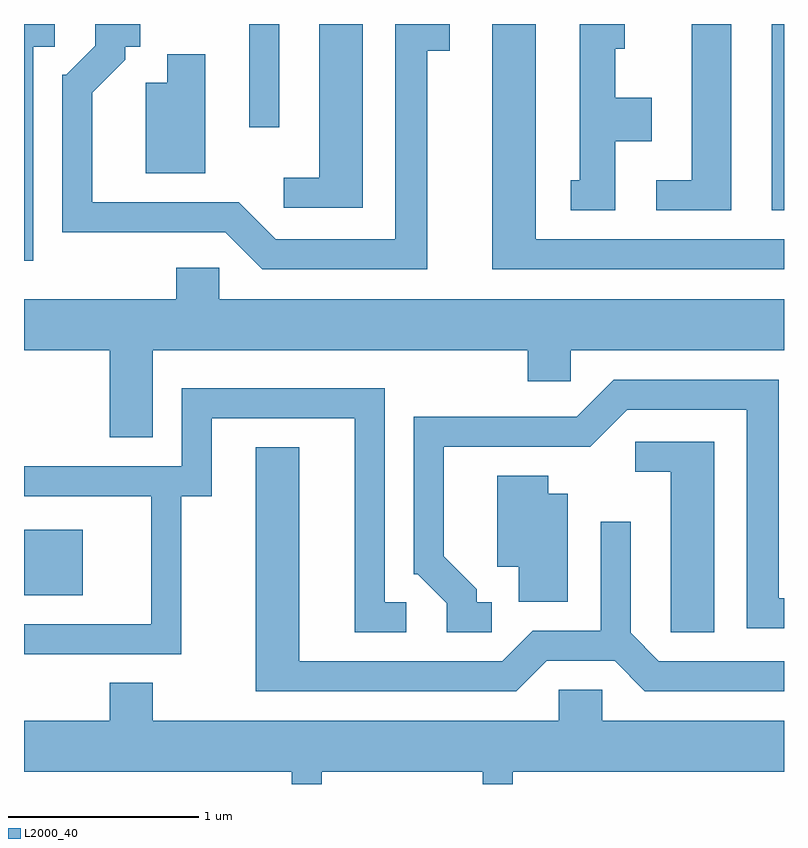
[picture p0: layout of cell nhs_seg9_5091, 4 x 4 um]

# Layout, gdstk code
import gdstk
lib = gdstk.Library(unit=1e-6, precision=1e-09)
def R(c, l, rs):  # rectangles x0, y0, x1, y1
    for r in rs: c.add(gdstk.rectangle(r[:2], r[2:], *l))
def P(c, l, *ps):  # polygons
    for p in ps: c.add(gdstk.Polygon(p, *l))
L2000_40 = (2000, 40)

nhs_seg9_5091 = lib.new_cell('nhs_seg9_5091')
R(nhs_seg9_5091, L2000_40, [(335.611,1979.426,335.919,1979.769), (339.546,1981.451,339.611,1982.432), (336.796,1981.888,336.954,1982.432)])
P(nhs_seg9_5091, L2000_40, [(339.611,1981.299),(338.304,1981.299),(338.304,1982.432),(338.076,1982.432),(338.076,1981.141),(339.611,1981.141)],
  [(337.734,1982.291),(337.853,1982.291),(337.853,1982.432),(337.566,1982.432),(337.566,1981.299),(336.937,1981.299),(336.742,1981.494),(335.969,1981.494),(335.969,1982.069),(336.144,1982.244),(336.144,1982.311),(336.223,1982.311),(336.223,1982.432),(335.986,1982.432),(335.986,1982.317),(335.834,1982.164),(335.811,1982.164),(335.811,1981.336),(336.669,1981.336),(336.864,1981.141),(337.734,1981.141)],
  [(335.659,1982.311),(335.773,1982.311),(335.773,1982.432),(335.611,1982.432),(335.611,1981.186),(335.659,1981.186)],
  [(337.394,1982.432),(337.166,1982.432),(337.166,1981.624),(336.978,1981.624),(336.978,1981.466),(337.394,1981.466)],
  [(339.334,1982.432),(339.126,1982.432),(339.126,1981.609),(338.938,1981.609),(338.938,1981.451),(339.334,1981.451)],
  [(338.724,1981.816),(338.914,1981.816),(338.914,1982.044),(338.724,1982.044),(338.724,1982.301),(338.773,1982.301),(338.773,1982.432),(338.536,1982.432),(338.536,1981.609),(338.488,1981.609),(338.488,1981.451),(338.724,1981.451)],
  [(336.564,1982.274),(336.366,1982.274),(336.366,1982.124),(336.251,1982.124),(336.251,1981.646),(336.564,1981.646)],
  [(336.289,1980.716),(338.261,1980.716),(338.261,1980.551),(338.489,1980.551),(338.489,1980.716),(339.611,1980.716),(339.611,1980.984),(336.639,1980.984),(336.639,1981.149),(336.411,1981.149),(336.411,1980.984),(335.611,1980.984),(335.611,1980.716),(336.061,1980.716),(336.061,1980.256),(336.289,1980.256)],
  [(338.073,1979.389),(337.994,1979.389),(337.994,1979.457),(337.819,1979.632),(337.819,1980.206),(338.592,1980.206),(338.787,1980.401),(339.416,1980.401),(339.416,1979.251),(339.611,1979.251),(339.611,1979.409),(339.584,1979.409),(339.584,1980.559),(338.714,1980.559),(338.519,1980.364),(337.661,1980.364),(337.661,1979.536),(337.684,1979.536),(337.836,1979.384),(337.836,1979.231),(338.073,1979.231)],
  [(336.439,1979.946),(336.599,1979.946),(336.599,1980.356),(337.351,1980.356),(337.351,1979.231),(337.623,1979.231),(337.623,1979.389),(337.509,1979.389),(337.509,1980.514),(336.441,1980.514),(336.441,1980.104),(335.611,1980.104),(335.611,1979.946),(336.281,1979.946),(336.281,1979.274),(335.611,1979.274),(335.611,1979.116),(336.439,1979.116)],
  [(339.244,1980.234),(338.828,1980.234),(338.828,1980.076),(339.016,1980.076),(339.016,1979.231),(339.244,1979.231)],
  [(338.362,1979.081),(338.719,1979.081),(338.879,1978.921),(339.611,1978.921),(339.611,1979.079),(338.952,1979.079),(338.804,1979.227),(338.804,1979.813),(338.646,1979.813),(338.646,1979.239),(338.289,1979.239),(338.129,1979.079),(337.059,1979.079),(337.059,1980.204),(336.831,1980.204),(336.831,1978.921),(338.202,1978.921)],
  [(338.474,1979.959),(338.369,1979.959),(338.369,1980.054),(338.101,1980.054),(338.101,1979.576),(338.216,1979.576),(338.216,1979.391),(338.474,1979.391)],
  [(337.179,1978.496),(338.026,1978.496),(338.026,1978.432),(338.184,1978.432),(338.184,1978.496),(339.611,1978.496),(339.611,1978.764),(338.654,1978.764),(338.654,1978.929),(338.426,1978.929),(338.426,1978.764),(336.289,1978.764),(336.289,1978.964),(336.061,1978.964),(336.061,1978.764),(335.611,1978.764),(335.611,1978.496),(337.021,1978.496),(337.021,1978.432),(337.179,1978.432)])

lib.write_gds('nhs_seg9_5091.gds')
